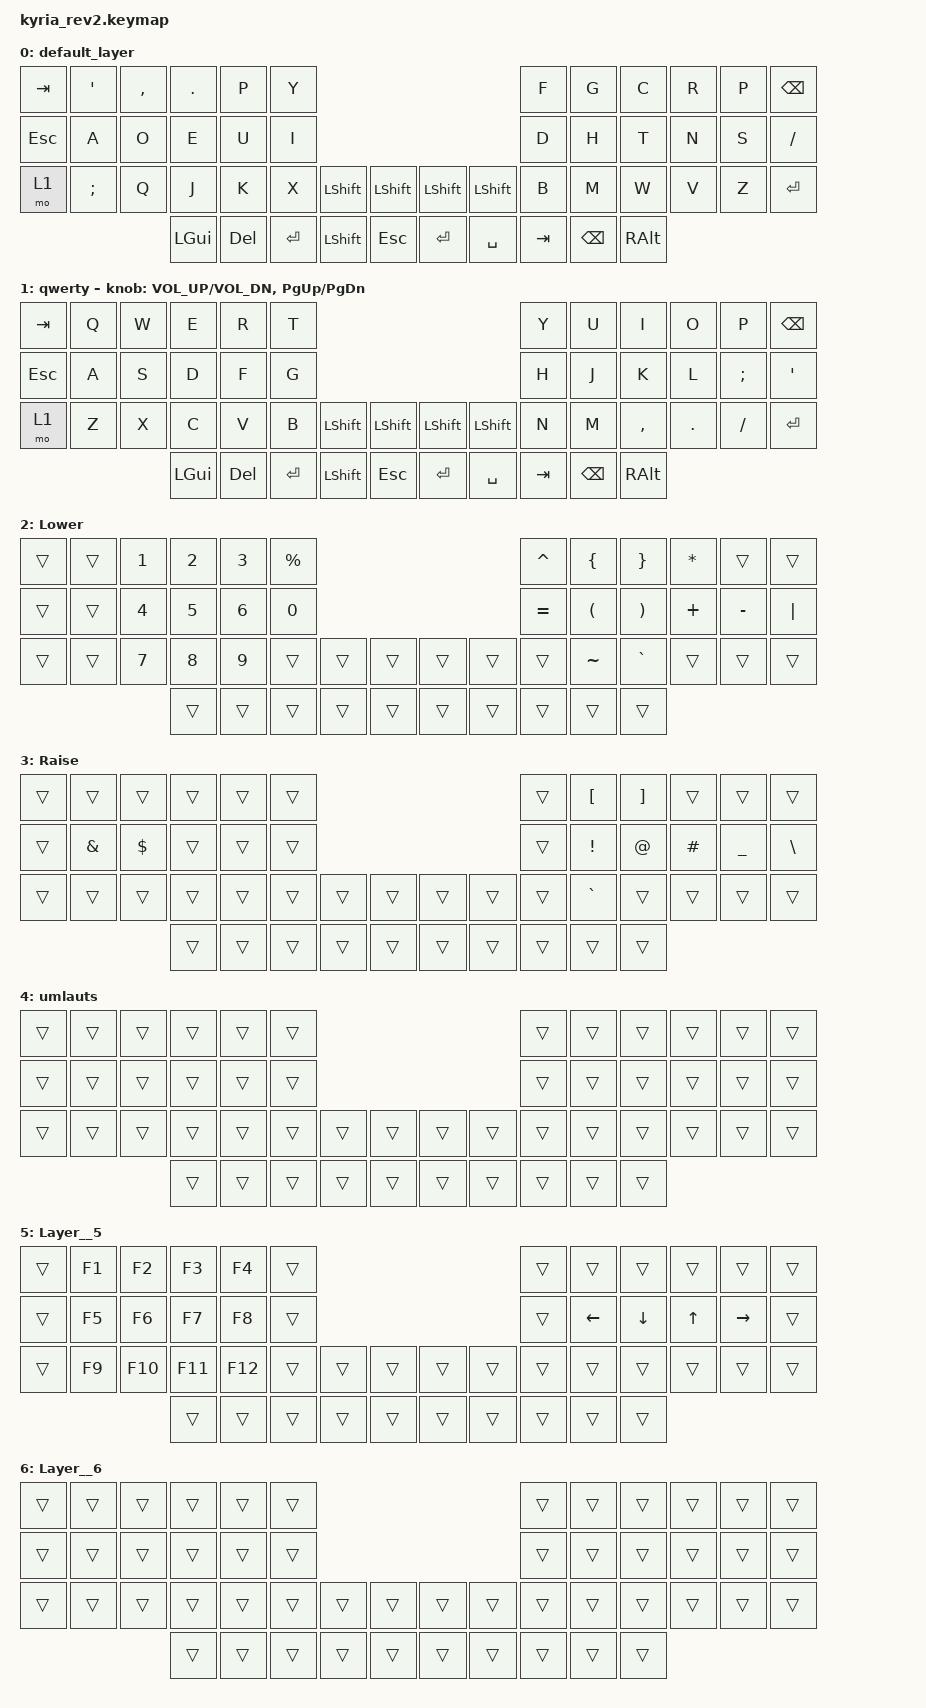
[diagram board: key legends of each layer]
/*
 * Copyright (c) 2020 The ZMK Contributors
 *
 * SPDX-License-Identifier: MIT
 */

#include <behaviors.dtsi>
#include <dt-bindings/zmk/keys.h>

/ {
    keymap {
        compatible = "zmk,keymap";

        default_layer {
            // ---------------------------------------------------------------------------------------------------------------------------------
            // |  ESC  |  Q  |  W  |  E   |  R   |  T   |                                          |  Y   |  U    |  I    |  O   |   P   |   \  |
            // |  TAB  |  A  |  S  |  D   |  F   |  G   |                                          |  H   |  J    |  K    |  L   |   ;   |   '  |
            // | SHIFT |  Z  |  X  |  C   |  V   |  B   | L SHIFT | L SHIFT |  | L SHIFT | L SHIFT |  N   |  M    |  ,    |  .   |   /   | CTRL |
            //                     | GUI  | DEL  | RET  |  SPACE  |   ESC   |  |   RET   |  SPACE  | TAB  | BSPC  | R-ALT |

            bindings = <
&kp TAB  &kp SINGLE_QUOTE  &kp COMMA   &kp DOT    &kp P    &kp Y                                                     &kp F     &kp G     &kp C  &kp R  &kp P   &kp BSPC
&kp ESC             &kp A      &kp O     &kp E    &kp U    &kp I                                                     &kp D     &kp H     &kp T  &kp N  &kp S  &kp SLASH
  &mo 1          &kp SEMI      &kp Q     &kp J    &kp K    &kp X       &kp LSHFT  &kp LSHFT  &kp LSHFT  &kp LSHFT    &kp B     &kp M     &kp W  &kp V  &kp Z  &kp ENTER
                                      &kp LGUI  &kp DEL  &kp RET  &kp LEFT_SHIFT    &kp ESC    &kp RET  &kp SPACE  &kp TAB  &kp BSPC  &kp RALT
            >;
        };

        qwerty {
            // ---------------------------------------------------------------------------------------------------------------------------------
            // |  ESC  |  Q  |  W  |  E   |  R   |  T   |                                          |  Y   |  U    |  I    |  O   |   P   |   \  |
            // |  TAB  |  A  |  S  |  D   |  F   |  G   |                                          |  H   |  J    |  K    |  L   |   ;   |   '  |
            // | SHIFT |  Z  |  X  |  C   |  V   |  B   | L SHIFT | L SHIFT |  | L SHIFT | L SHIFT |  N   |  M    |  ,    |  .   |   /   | CTRL |
            //                     | GUI  | DEL  | RET  |  SPACE  |   ESC   |  |   RET   |  SPACE  | TAB  | BSPC  | R-ALT |

            bindings = <
&kp TAB  &kp Q  &kp W     &kp E    &kp R    &kp T                                                     &kp Y     &kp U      &kp I    &kp O     &kp P   &kp BSPC
&kp ESC  &kp A  &kp S     &kp D    &kp F    &kp G                                                     &kp H     &kp J      &kp K    &kp L  &kp SEMI    &kp SQT
  &mo 1  &kp Z  &kp X     &kp C    &kp V    &kp B       &kp LSHFT  &kp LSHFT  &kp LSHFT  &kp LSHFT    &kp N     &kp M  &kp COMMA  &kp DOT  &kp FSLH  &kp ENTER
                       &kp LGUI  &kp DEL  &kp RET  &kp LEFT_SHIFT    &kp ESC    &kp RET  &kp SPACE  &kp TAB  &kp BSPC   &kp RALT
            >;

            sensor-bindings = <&inc_dec_kp C_VOL_UP C_VOL_DN &inc_dec_kp PG_UP PG_DN>;
        };

        Lower {
            bindings = <
&trans  &trans  &kp NUMBER_1  &kp NUMBER_2  &kp NUMBER_3   &kp PERCENT                                  &kp CARET        &kp LEFT_BRACE        &kp RIGHT_BRACE  &kp STAR     &trans    &trans
&trans  &trans  &kp NUMBER_4  &kp NUMBER_5  &kp NUMBER_6  &kp NUMBER_0                                  &kp EQUAL  &kp LEFT_PARENTHESIS  &kp RIGHT_PARENTHESIS  &kp PLUS  &kp MINUS  &kp PIPE
&trans  &trans  &kp NUMBER_7  &kp NUMBER_8  &kp NUMBER_9        &trans  &trans  &trans  &trans  &trans     &trans             &kp TILDE              &kp GRAVE    &trans     &trans    &trans
                                    &trans        &trans        &trans  &trans  &trans  &trans  &trans     &trans                &trans                 &trans
            >;
        };

        Raise {
            bindings = <
&trans         &trans      &trans  &trans  &trans  &trans                                  &trans  &kp LEFT_BRACKET  &kp RIGHT_BRACKET    &trans     &trans    &trans
&trans  &kp AMPERSAND  &kp DOLLAR  &trans  &trans  &trans                                  &trans          &kp EXCL             &kp AT  &kp HASH  &kp UNDER  &kp BSLH
&trans         &trans      &trans  &trans  &trans  &trans  &trans  &trans  &trans  &trans  &trans         &kp GRAVE             &trans    &trans     &trans    &trans
                                   &trans  &trans  &trans  &trans  &trans  &trans  &trans  &trans            &trans             &trans
            >;
        };

        umlauts {
            bindings = <
&trans  &trans  &trans  &trans  &trans  &trans                                  &trans  &trans  &trans  &trans  &trans  &trans
&trans  &trans  &trans  &trans  &trans  &trans                                  &trans  &trans  &trans  &trans  &trans  &trans
&trans  &trans  &trans  &trans  &trans  &trans  &trans  &trans  &trans  &trans  &trans  &trans  &trans  &trans  &trans  &trans
                        &trans  &trans  &trans  &trans  &trans  &trans  &trans  &trans  &trans  &trans
            >;
        };

        Layer__5 {
            bindings = <
&trans  &kp F1   &kp F2   &kp F3   &kp F4  &trans                                  &trans    &trans    &trans  &trans     &trans  &trans
&trans  &kp F5   &kp F6   &kp F7   &kp F8  &trans                                  &trans  &kp LEFT  &kp DOWN  &kp UP  &kp RIGHT  &trans
&trans  &kp F9  &kp F10  &kp F11  &kp F12  &trans  &trans  &trans  &trans  &trans  &trans    &trans    &trans  &trans     &trans  &trans
                          &trans   &trans  &trans  &trans  &trans  &trans  &trans  &trans    &trans    &trans
            >;
        };

        Layer__6 {
            bindings = <
&trans  &trans  &trans  &trans  &trans  &trans                                  &trans  &trans  &trans  &trans  &trans  &trans
&trans  &trans  &trans  &trans  &trans  &trans                                  &trans  &trans  &trans  &trans  &trans  &trans
&trans  &trans  &trans  &trans  &trans  &trans  &trans  &trans  &trans  &trans  &trans  &trans  &trans  &trans  &trans  &trans
                        &trans  &trans  &trans  &trans  &trans  &trans  &trans  &trans  &trans  &trans
            >;
        };
    };
};
